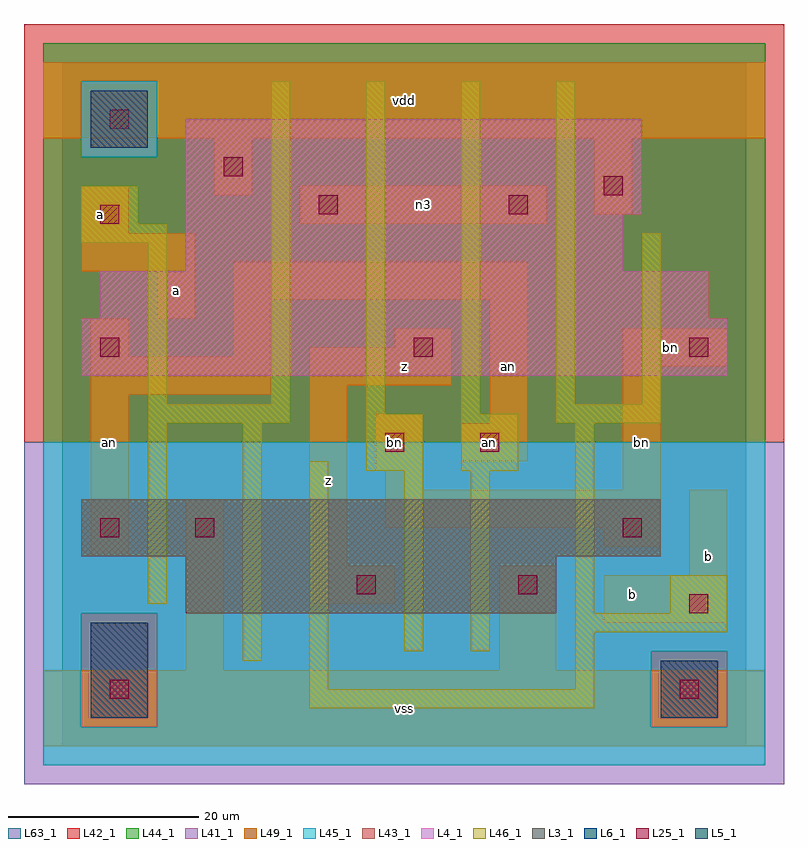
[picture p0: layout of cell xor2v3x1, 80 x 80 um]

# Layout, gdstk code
import gdstk
lib = gdstk.Library(unit=1e-6, precision=1e-09)
def R(c, l, rs):  # rectangles x0, y0, x1, y1
    for r in rs: c.add(gdstk.rectangle(r[:2], r[2:], *l))
L3_1 = (3, 1)
L4_1 = (4, 1)
L5_1 = (5, 1)
L6_1 = (6, 1)
L25_1 = (25, 1)
L41_1 = (41, 1)
L42_1 = (42, 1)
L43_1 = (43, 1)
L44_1 = (44, 1)
L45_1 = (45, 1)
L46_1 = (46, 1)
L49_1 = (49, 1)
L63_1 = (63, 1)

xor2v3x1 = lib.new_cell('xor2v3x1')
R(xor2v3x1, L3_1, [(13,14,52,20), (2,20,63,26)])
R(xor2v3x1, L4_1, [(2,39,70,45), (4,45,68,50), (13,50,59,56), (13,56,61,66)])
R(xor2v3x1, L5_1, [(3,63,9,69)])
R(xor2v3x1, L6_1, [(3,3,9,13), (3,3,9,13), (63,3,69,9), (63,3,69,9)])
R(xor2v3x1, L25_1, [(5,5,7,7), (65,5,67,7), (66,14,68,16), (31,16,33,18), (48,16,50,18), (4,22,6,24), (14,22,16,24), (59,22,61,24), (34,31,36,33), (44,31,46,33), (4,41,6,43), (37,41,39,43), (66,41,68,43), (4,55,6,57), (27,56,29,58), (47,56,49,58), (57,58,59,60), (17,60,19,62), (5,65,7,67)])
R(xor2v3x1, L41_1, [(-4,-4,76,32)])
R(xor2v3x1, L42_1, [(-4,32,76,76)])
R(xor2v3x1, L43_1, [(3,3,9,13), (63,3,69,9), (13,14,52,20), (2,20,63,26), (2,39,70,45), (4,45,68,50), (13,50,59,56), (13,56,61,66), (3,63,9,69)])
R(xor2v3x1, L44_1, [(2,2,10,14), (62,2,70,10), (-2,32,74,62), (-2,62,2,70), (10,62,74,70), (-2,70,74,74)])
R(xor2v3x1, L45_1, [(-2,-2,74,2), (-2,2,2,14), (10,2,62,10), (70,2,74,10), (10,10,74,14), (-2,14,74,32), (2,62,10,70)])
R(xor2v3x1, L46_1, [(26,4,56,6), (26,6,28,30), (54,6,56,12), (19,9,21,34), (36,10,38,29), (43,10,45,29), (54,12,70,14), (54,14,56,34), (64,14,70,18), (9,15,11,34), (32,29,38,35), (42,29,48,35), (9,34,24,36), (52,34,63,36), (32,35,34,70), (42,35,44,70), (9,36,11,53), (22,36,24,70), (52,36,54,70), (61,36,63,54), (2,53,11,55), (2,55,8,59)])
R(xor2v3x1, L49_1, [(-2,0,74,8), (13,8,17,26), (46,8,52,19), (57,13,70,18), (26,15,35,19), (66,18,70,27), (26,19,30,38), (3,20,7,37), (57,21,63,23), (34,23,63,27), (34,27,38,29), (59,27,63,40), (33,29,38,35), (42,30,49,34), (45,34,49,47), (3,37,22,41), (26,38,41,42), (59,40,70,44), (3,41,7,45), (18,41,22,47), (35,42,41,44), (10,45,14,50), (18,47,49,51), (2,50,14,54), (2,54,7,59), (25,55,51,59), (56,56,60,64), (16,58,20,64), (-2,64,74,72)])
R(xor2v3x1, L63_1, [(0,0,72,72)])
xor2v3x1.add(gdstk.Label('bn', (35,32), layer=49, texttype=1))
xor2v3x1.add(gdstk.Label('an', (45,32), layer=49, texttype=1))
xor2v3x1.add(gdstk.Label('an', (5,32), layer=49, texttype=1))
xor2v3x1.add(gdstk.Label('a', (12,48), layer=49, texttype=1))
xor2v3x1.add(gdstk.Label('a', (4,56), layer=49, texttype=1))
xor2v3x1.add(gdstk.Label('z', (28,28), layer=49, texttype=1))
xor2v3x1.add(gdstk.Label('vss', (36,4), layer=49, texttype=1))
xor2v3x1.add(gdstk.Label('an', (47,40), layer=49, texttype=1))
xor2v3x1.add(gdstk.Label('z', (36,40), layer=49, texttype=1))
xor2v3x1.add(gdstk.Label('n3', (38,57), layer=49, texttype=1))
xor2v3x1.add(gdstk.Label('vdd', (36,68), layer=49, texttype=1))
xor2v3x1.add(gdstk.Label('b', (68,20), layer=49, texttype=1))
xor2v3x1.add(gdstk.Label('b', (60,16), layer=49, texttype=1))
xor2v3x1.add(gdstk.Label('bn', (61,32), layer=49, texttype=1))
xor2v3x1.add(gdstk.Label('bn', (64,42), layer=49, texttype=1))

lib.write_gds('xor2v3x1.gds')
